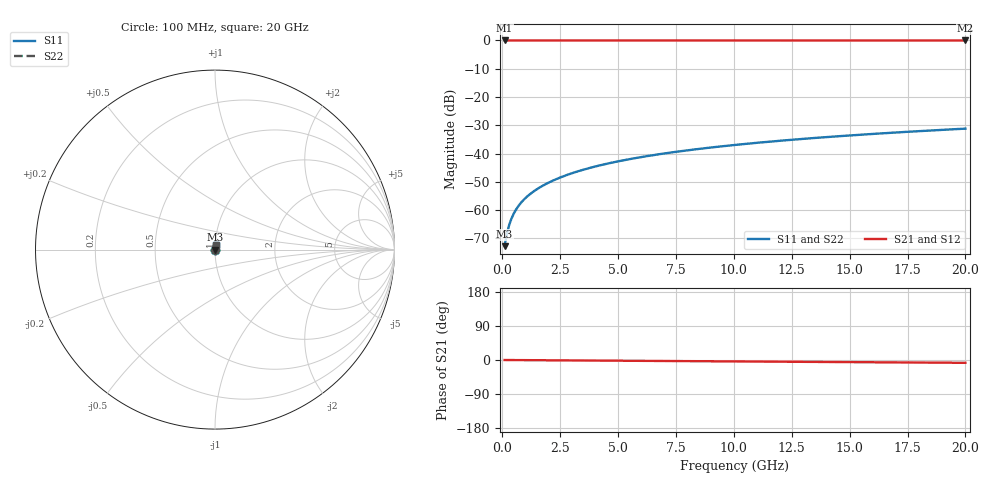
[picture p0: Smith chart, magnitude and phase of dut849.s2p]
! Touchstone file exported from HFSS 2026.1.0
!  File:  C:/ffzhzh/LocalFiles/Ansys_Project_Files/temp_train_TSV_849_1783185119_51560.aedt
!  Generated:  01:13:27 AM Jul  5, 2026
!  Design:  TSV
!  Project:  temp_train_TSV_849_1783185119_51560
! Variables:
!  h_bsmrdl = 2um
!  h_ox = 20um
!  h_rdl = 5um
!  h_sub = 70.5um
!  h_tmrdl = 5um
!  h_tsv = 70.5um
!  h_via = 3um
!  l_bsmrdl = 300um
!  l_sub = 416.94um
!  l_tmrdl = 200um
!  m_sub = 200um
!  pitch = 44.2um
!  r_tsv = 8.47um
!  s_tmrdl = 10um
!  w_bsmrdl = 18um
!  w_sub = 500um
!  w_tmrdl = 12um
!  x_tsv_center1 = 206um
!  x_tsv_center2 = 524um
!  x_tsv_center3 = 736um
!  x_tsv_center4 = 1054um
!  x_tsv_center5 = 1266um
!  x_tsv_center6 = 1584um
# GHz S MA R 50.000000
! Terminal data exported
! Port[1] = TSV1_1_T1
! Port[2] = TSV1_1_T2
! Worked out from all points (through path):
!   200 points, 100 MHz to 20 GHz, reference 50 ohm
!   highest |S21| = 0.00 dB at 100 MHz (marker M1); lowest = 0.0 dB at 20 GHz (marker M2)
!   group delay of S21, straight-line fit = 1.03 ps
!   lowest |S11| = -72.7 dB at 100 MHz (marker M3), VSWR 1.00, Z = 50 + j0.0177 ohm
!   |S11| at or under -10 dB: start of sweep to end of sweep
!   |S22| runs from -72.7 to -31.2 dB; largest |S21 - S12| = 3.9e-15
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0.1  0.0002312 50.1  0.9999 -0.0  0.9999 -0.0  0.0002312 50.1
! Gamma 0 0 0 0
! Port Impedance 50 0 50 0
0.2  0.0003865 65.8  0.9998 -0.1  0.9998 -0.1  0.0003865 65.8
0.3  0.000552 71.6  0.9998 -0.1  0.9998 -0.1  0.000552 71.6
0.4  0.000717 74.3  0.9998 -0.2  0.9998 -0.2  0.000717 74.3
0.5  0.0008787 75.8  0.9998 -0.2  0.9998 -0.2  0.0008787 75.8
0.6  0.001037 76.8  0.9998 -0.2  0.9998 -0.2  0.001037 76.8
0.7  0.001191 77.4  0.9997 -0.3  0.9997 -0.3  0.001191 77.4
0.8  0.001342 78.0  0.9997 -0.3  0.9997 -0.3  0.001342 78.0
1  0.001637 78.8  0.9997 -0.4  0.9997 -0.4  0.001637 78.8
1.4  0.002214 80.1  0.9996 -0.5  0.9996 -0.5  0.002214 80.1
1.7  0.002642 80.8  0.9996 -0.6  0.9996 -0.6  0.002642 80.8
2  0.003069 81.4  0.9996 -0.8  0.9996 -0.8  0.003069 81.4
2.7  0.004062 82.3  0.9995 -1.0  0.9995 -1.0  0.004062 82.3
3.5  0.005194 82.8  0.9994 -1.3  0.9994 -1.3  0.005194 82.8
4.2  0.006178 83.0  0.9994 -1.6  0.9994 -1.6  0.006178 83.0
5  0.007295 83.1  0.9993 -1.9  0.9993 -1.9  0.007295 83.1
6.8  0.009786 83.0  0.9992 -2.5  0.9992 -2.5  0.009786 83.0
8.3  0.01184 82.9  0.9991 -3.1  0.9991 -3.1  0.01184 82.9
10.1  0.0143 82.5  0.999 -3.8  0.999 -3.8  0.0143 82.5
13.4  0.01878 81.8  0.9988 -5.0  0.9988 -5.0  0.01878 81.8
16.7  0.02322 80.9  0.9986 -6.2  0.9986 -6.2  0.02322 80.9
20  0.02763 79.9  0.9983 -7.4  0.9983 -7.4  0.02763 79.9
